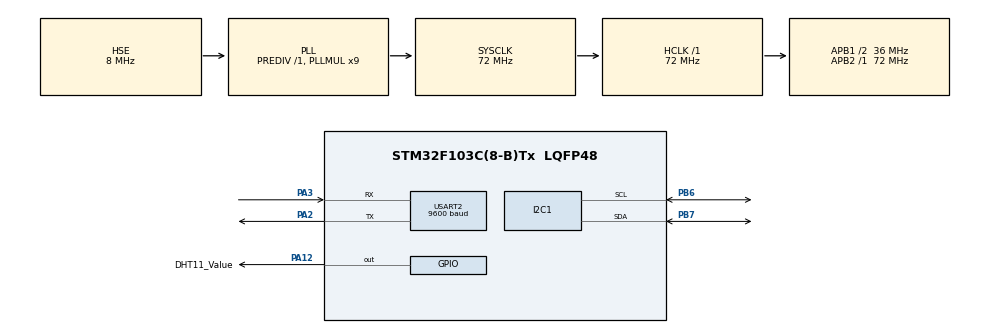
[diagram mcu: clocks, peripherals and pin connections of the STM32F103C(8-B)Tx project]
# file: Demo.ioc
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Mcu.Family=STM32F1
Mcu.Name=STM32F103C(8-B)Tx
Mcu.Package=LQFP48
NVIC.PriorityGroup=NVIC_PRIORITYGROUP_4
NVIC.USART2_IRQn=true\:0\:0\:false\:false\:true\:true\:true
PA12.GPIO_Label=DHT11_Value
PA12.GPIO_PuPd=GPIO_PULLUP
PA12.GPIO_Speed=GPIO_SPEED_FREQ_HIGH
PA12.Signal=GPIO_Output
PA13.Mode=Serial_Wire
PA13.Signal=SYS_JTMS-SWDIO
PA14.Mode=Serial_Wire
PA14.Signal=SYS_JTCK-SWCLK
PA2.Mode=Asynchronous
PA2.Signal=USART2_TX
PA3.Mode=Asynchronous
PA3.Signal=USART2_RX
PB6.Mode=I2C
PB6.Signal=I2C1_SCL
PB7.Mode=I2C
PB7.Signal=I2C1_SDA
PC14-OSC32_IN.Mode=LSE-External-Oscillator
PC14-OSC32_IN.Signal=RCC_OSC32_IN
PC15-OSC32_OUT.Mode=LSE-External-Oscillator
PC15-OSC32_OUT.Signal=RCC_OSC32_OUT
PD0-OSC_IN.Mode=HSE-External-Oscillator
PD0-OSC_IN.Signal=RCC_OSC_IN
PD1-OSC_OUT.Mode=HSE-External-Oscillator
PD1-OSC_OUT.Signal=RCC_OSC_OUT
ProjectManager.HeapSize=0x200
ProjectManager.StackSize=0x400
ProjectManager.TargetToolchain=MDK-ARM V5
RCC.AHBFreq_Value=72000000
RCC.APB1CLKDivider=RCC_HCLK_DIV2
RCC.APB1Freq_Value=36000000
RCC.APB1TimFreq_Value=72000000
RCC.APB2Freq_Value=72000000
RCC.APB2TimFreq_Value=72000000
RCC.HCLKFreq_Value=72000000
RCC.PLLMUL=RCC_PLL_MUL9
RCC.PLLSourceVirtual=RCC_PLLSOURCE_HSE
RCC.SYSCLKFreq_VALUE=72000000
RCC.SYSCLKSource=RCC_SYSCLKSOURCE_PLLCLK
RCC.USBFreq_Value=72000000
TIM2.Prescaler=72-1
USART2.BaudRate=9600
USART2.VirtualMode=VM_ASYNC
VP_TIM2_VS_ClockSourceINT.Mode=Internal
board=custom

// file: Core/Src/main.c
/* USER CODE BEGIN Header */
/**
  ******************************************************************************
  * @file           : main.c
  * @brief          : Main program body
  ******************************************************************************
  * @attention
  *
  * <h2><center>&copy; Copyright (c) 2021 STMicroelectronics.
  * All rights reserved.</center></h2>
  *
  * This software component is licensed by ST under BSD 3-Clause license,
  * the "License"; You may not use this file except in compliance with the
  * License. You may obtain a copy of the License at:
  *                        opensource.org/licenses/BSD-3-Clause
  *
  ******************************************************************************
  */
/* USER CODE END Header */
#include "main.h"
#include "i2c.h"
#include "tim.h"
#include "usart.h"
#include "gpio.h"

/* USER CODE BEGIN Includes */
#include "dht11.h"
#include "oled.h"
#include "display.h"
#include "stdio.h"
/* USER CODE END Includes */

void SystemClock_Config(void);

/* USER CODE BEGIN 0 */
uint8_t rxBuffer[1];		//指令缓存区
#define RX_CMD_LEN 1	//接收指令长度
/* USER CODE END 0 */

int main(void)
{
  /* USER CODE BEGIN 1 */
	uint16_t Temperature_Value;//温度采集值
	uint16_t Humidity_Value;//湿度采集值

	int Integer_Value_Temp;//温度整数部分
	int Decimal_Value_Temp;//温度小数部分
	int Integer_Value_Humi;//湿度整数部分
	int Decimal_Value_Humi;//湿度小数部分
  /* USER CODE END 1 */

  /* MCU Configuration--------------------------------------------------------*/

  /* Reset of all peripherals, Initializes the Flash interface and the Systick. */
  HAL_Init();

  /* Configure the system clock */
  SystemClock_Config();

  /* Initialize all configured peripherals */
  MX_GPIO_Init();
  MX_TIM2_Init();
  MX_USART2_UART_Init();
  MX_I2C1_Init();

  /* USER CODE BEGIN 2 */
	while(DHT11_Init())
	{
		printf("DHT11接入失败，请重试！\r\n");
		HAL_Delay(500);
	}

	OLED_Init();
	OLED_Clear();

	OLED_ShowChinese(16,0,0);/*"当",0*/
	OLED_ShowChinese(32,0,1);/*"前",1*/
	OLED_ShowChinese(48,0,2);/*"实",2*/
	OLED_ShowChinese(64,0,3);/*"时",3*/
	OLED_ShowChinese(80,0,4);/*"数",4*/
	OLED_ShowChinese(96,0,5);/*"据",5*/

	OLED_ShowChinese(8,4,2);/*"实",7*/
	OLED_ShowChinese(24,4,3);/*"时",8*/
	OLED_ShowChinese(40,4,6);/*"温",0*/
	OLED_ShowChinese(56,4,8);/*"度",2*/
	OLED_ShowChar(72,4,':',16);
	OLED_ShowChinese(8,6,2);/*"实",7*/
	OLED_ShowChinese(24,6,3);/*"时",8*/
	OLED_ShowChinese(40,6,7);/*"湿",1*/
	OLED_ShowChinese(56,6,8);/*"度",2*/
	OLED_ShowChar(72,6,':',16);
  /* USER CODE END 2 */

  /* Infinite loop */
  /* USER CODE BEGIN WHILE */
  while (1)
  {
		HAL_UART_Receive_IT(&huart2,rxBuffer,RX_CMD_LEN);

		uint8_t Chr_cmd = rxBuffer[0];

		DHT11_Read_Data(&Temperature_Value,&Humidity_Value);

		Integer_Value_Temp = Temperature_Value>>8;
		Decimal_Value_Temp = Temperature_Value&0xff;

		Integer_Value_Humi = Humidity_Value>>8;
		Decimal_Value_Humi = Humidity_Value&0xff;

		printf("==========================\r\n");
		printf("实时温度为：%d.%dC\r\n",Integer_Value_Temp,Decimal_Value_Temp);
		printf("实时湿度为：%d.%d%%\r\n",Integer_Value_Humi,Decimal_Value_Humi);
		printf("==========================\r\n");

		switch(Chr_cmd)
		{
			case '1':
				Display_Normal(Integer_Value_Temp,Decimal_Value_Temp,Integer_Value_Humi,Decimal_Value_Humi);
			break;

			case '2':
				OLED_Init();
				OLED_Clear();

				OLED_WR_CMD(0x2E);
				OLED_WR_CMD(0xA3);
				OLED_WR_CMD(0x00);
				OLED_WR_CMD(0x40);
				OLED_WR_CMD(0x2A);
				OLED_WR_CMD(0x00);
				OLED_WR_CMD(0x00);
				OLED_WR_CMD(0x01);
				OLED_WR_CMD(0x00);
				OLED_WR_CMD(0x04);

				OLED_ShowChinese(8,2,2);/*"实",7*/
				OLED_ShowChinese(24,2,3);/*"时",8*/
				OLED_ShowChinese(40,2,6);/*"温",0*/
				OLED_ShowChinese(56,2,8);/*"度",2*/
				OLED_ShowChar(72,2,':',16);
				OLED_ShowChinese(8,6,2);/*"实",7*/
				OLED_ShowChinese(24,6,3);/*"时",8*/
				OLED_ShowChinese(40,6,7);/*"湿",1*/
				OLED_ShowChinese(56,6,8);/*"度",2*/
				OLED_ShowChar(72,6,':',16);

				OLED_ShowNum(80,2,Integer_Value_Temp,2,16);
				OLED_ShowChar(96,2,'.',16);
				OLED_ShowNum(104,2,Decimal_Value_Temp,1,16);
				OLED_ShowChar(112,2,'C',16);
				OLED_ShowNum(80,6,Integer_Value_Humi,2,16);
				OLED_ShowChar(96,6,'.',16);
				OLED_ShowNum(104,6,Decimal_Value_Humi,1,16);
				OLED_ShowChar(112,6,'%',16);

				OLED_WR_CMD(0x2F);//开启滚动

				HAL_Delay(6000);
			break;

			default:
				Display_Normal(Integer_Value_Temp,Decimal_Value_Temp,Integer_Value_Humi,Decimal_Value_Humi);
			break;
		}

		HAL_Delay(1000);
    /* USER CODE END WHILE */

  }
}

void SystemClock_Config(void)
{
  RCC_OscInitTypeDef RCC_OscInitStruct = {0};
  RCC_ClkInitTypeDef RCC_ClkInitStruct = {0};

  /** Initializes the RCC Oscillators according to the specified parameters
  * in the RCC_OscInitTypeDef structure.
  */
  RCC_OscInitStruct.OscillatorType = RCC_OSCILLATORTYPE_HSE;
  RCC_OscInitStruct.HSEState = RCC_HSE_ON;
  RCC_OscInitStruct.HSEPredivValue = RCC_HSE_PREDIV_DIV1;
  RCC_OscInitStruct.HSIState = RCC_HSI_ON;
  RCC_OscInitStruct.PLL.PLLState = RCC_PLL_ON;
  RCC_OscInitStruct.PLL.PLLSource = RCC_PLLSOURCE_HSE;
  RCC_OscInitStruct.PLL.PLLMUL = RCC_PLL_MUL9;
  if (HAL_RCC_OscConfig(&RCC_OscInitStruct) != HAL_OK)
  {
    Error_Handler();
  }
  /** Initializes the CPU, AHB and APB buses clocks
  */
  RCC_ClkInitStruct.ClockType = RCC_CLOCKTYPE_HCLK|RCC_CLOCKTYPE_SYSCLK
                              |RCC_CLOCKTYPE_PCLK1|RCC_CLOCKTYPE_PCLK2;
  RCC_ClkInitStruct.SYSCLKSource = RCC_SYSCLKSOURCE_PLLCLK;
  RCC_ClkInitStruct.AHBCLKDivider = RCC_SYSCLK_DIV1;
  RCC_ClkInitStruct.APB1CLKDivider = RCC_HCLK_DIV2;
  RCC_ClkInitStruct.APB2CLKDivider = RCC_HCLK_DIV1;

  if (HAL_RCC_ClockConfig(&RCC_ClkInitStruct, FLASH_LATENCY_2) != HAL_OK)
  {
    Error_Handler();
  }
}

/* USER CODE BEGIN 4 */
void HAL_UART_RxCpltCallback(UART_HandleTypeDef *huart)
{
	if(huart->Instance == USART1)
	{
		HAL_UART_Receive_IT(huart,rxBuffer,RX_CMD_LEN);//再次接收
	}
}

/* USER CODE END 4 */

void Error_Handler(void)
{
  __disable_irq();
  while (1)
  {
  }
}

/************************ (C) COPYRIGHT STMicroelectronics *****END OF FILE****/
